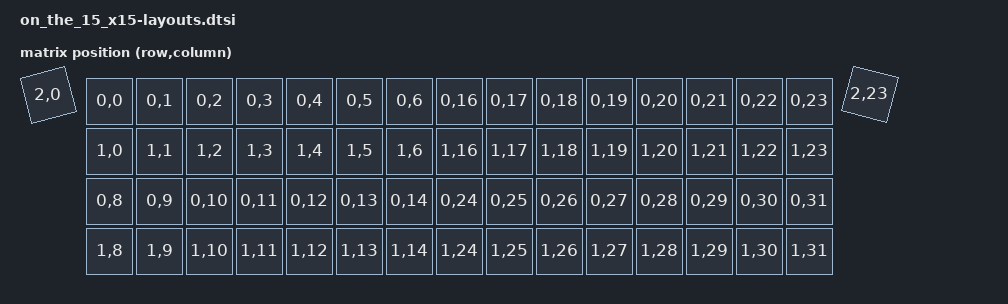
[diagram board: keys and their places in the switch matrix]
/* Physical key order and positions from reference-private/x15.json. */

#include <dt-bindings/zmk/matrix_transform.h>
#include <physical_layouts.dtsi>

/ {
    on_the_15_x15_transform: on_the_15_x15_transform {
        compatible = "zmk,matrix-transform";
        columns = <32>;
        rows = <3>;
        map = <
RC(0,0) RC(0,1) RC(0,2) RC(0,3) RC(0,4) RC(0,5) RC(0,6) RC(0,16) RC(0,17) RC(0,18) RC(0,19) RC(0,20) RC(0,21) RC(0,22) RC(0,23)
RC(1,0) RC(1,1) RC(1,2) RC(1,3) RC(1,4) RC(1,5) RC(1,6) RC(1,16) RC(1,17) RC(1,18) RC(1,19) RC(1,20) RC(1,21) RC(1,22) RC(1,23)
RC(0,8) RC(0,9) RC(0,10) RC(0,11) RC(0,12) RC(0,13) RC(0,14) RC(0,24) RC(0,25) RC(0,26) RC(0,27) RC(0,28) RC(0,29) RC(0,30) RC(0,31)
RC(1,8) RC(1,9) RC(1,10) RC(1,11) RC(1,12) RC(1,13) RC(1,14) RC(1,24) RC(1,25) RC(1,26) RC(1,27) RC(1,28) RC(1,29) RC(1,30) RC(1,31)
RC(2,23) RC(2,0)
        >;
    };

    on_the_15_x15_layout: on_the_15_x15_layout {
        compatible = "zmk,physical-layout";
        display-name = "x15";
        transform = <&on_the_15_x15_transform>;

        keys //                      w   h     x    y     rot     rx   ry
            = <&key_physical_attrs 100 100   125   25       0      0    0>
            , <&key_physical_attrs 100 100   225   25       0      0    0>
            , <&key_physical_attrs 100 100   325   25       0      0    0>
            , <&key_physical_attrs 100 100   425   25       0      0    0>
            , <&key_physical_attrs 100 100   525   25       0      0    0>
            , <&key_physical_attrs 100 100   625   25       0      0    0>
            , <&key_physical_attrs 100 100   725   25       0      0    0>
            , <&key_physical_attrs 100 100   825   25       0      0    0>
            , <&key_physical_attrs 100 100   925   25       0      0    0>
            , <&key_physical_attrs 100 100  1025   25       0      0    0>
            , <&key_physical_attrs 100 100  1125   25       0      0    0>
            , <&key_physical_attrs 100 100  1225   25       0      0    0>
            , <&key_physical_attrs 100 100  1325   25       0      0    0>
            , <&key_physical_attrs 100 100  1425   25       0      0    0>
            , <&key_physical_attrs 100 100  1525   25       0      0    0>
            , <&key_physical_attrs 100 100   125  125       0      0    0>
            , <&key_physical_attrs 100 100   225  125       0      0    0>
            , <&key_physical_attrs 100 100   325  125       0      0    0>
            , <&key_physical_attrs 100 100   425  125       0      0    0>
            , <&key_physical_attrs 100 100   525  125       0      0    0>
            , <&key_physical_attrs 100 100   625  125       0      0    0>
            , <&key_physical_attrs 100 100   725  125       0      0    0>
            , <&key_physical_attrs 100 100   825  125       0      0    0>
            , <&key_physical_attrs 100 100   925  125       0      0    0>
            , <&key_physical_attrs 100 100  1025  125       0      0    0>
            , <&key_physical_attrs 100 100  1125  125       0      0    0>
            , <&key_physical_attrs 100 100  1225  125       0      0    0>
            , <&key_physical_attrs 100 100  1325  125       0      0    0>
            , <&key_physical_attrs 100 100  1425  125       0      0    0>
            , <&key_physical_attrs 100 100  1525  125       0      0    0>
            , <&key_physical_attrs 100 100   125  225       0      0    0>
            , <&key_physical_attrs 100 100   225  225       0      0    0>
            , <&key_physical_attrs 100 100   325  225       0      0    0>
            , <&key_physical_attrs 100 100   425  225       0      0    0>
            , <&key_physical_attrs 100 100   525  225       0      0    0>
            , <&key_physical_attrs 100 100   625  225       0      0    0>
            , <&key_physical_attrs 100 100   725  225       0      0    0>
            , <&key_physical_attrs 100 100   825  225       0      0    0>
            , <&key_physical_attrs 100 100   925  225       0      0    0>
            , <&key_physical_attrs 100 100  1025  225       0      0    0>
            , <&key_physical_attrs 100 100  1125  225       0      0    0>
            , <&key_physical_attrs 100 100  1225  225       0      0    0>
            , <&key_physical_attrs 100 100  1325  225       0      0    0>
            , <&key_physical_attrs 100 100  1425  225       0      0    0>
            , <&key_physical_attrs 100 100  1525  225       0      0    0>
            , <&key_physical_attrs 100 100   125  325       0      0    0>
            , <&key_physical_attrs 100 100   225  325       0      0    0>
            , <&key_physical_attrs 100 100   325  325       0      0    0>
            , <&key_physical_attrs 100 100   425  325       0      0    0>
            , <&key_physical_attrs 100 100   525  325       0      0    0>
            , <&key_physical_attrs 100 100   625  325       0      0    0>
            , <&key_physical_attrs 100 100   725  325       0      0    0>
            , <&key_physical_attrs 100 100   825  325       0      0    0>
            , <&key_physical_attrs 100 100   925  325       0      0    0>
            , <&key_physical_attrs 100 100  1025  325       0      0    0>
            , <&key_physical_attrs 100 100  1125  325       0      0    0>
            , <&key_physical_attrs 100 100  1225  325       0      0    0>
            , <&key_physical_attrs 100 100  1325  325       0      0    0>
            , <&key_physical_attrs 100 100  1425  325       0      0    0>
            , <&key_physical_attrs 100 100  1525  325       0      0    0>
            , <&key_physical_attrs 100 100  1650   25    1500   1750   50>
            , <&key_physical_attrs 100 100     0    0  (-1500)   100   50>
            ;
    };
};
